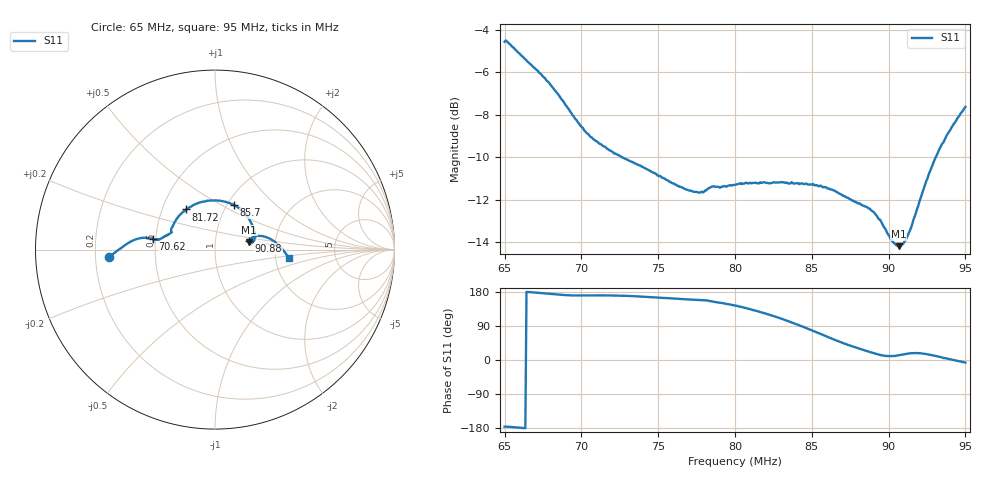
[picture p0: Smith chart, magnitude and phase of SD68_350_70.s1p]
! NanoVNA-App
! Date: 2025-08-09 13:04:04
! Start: 65MHz Stop: 95MHz Points: 401
! S-Parameter data: F S11
# Hz S RI R 50
!  Frequency  S11_Real  S11_Imag
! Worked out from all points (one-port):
!   401 points, 65 MHz to 95 MHz, reference 50 ohm
!   lowest |S11| = -14.2 dB at 90.65 MHz (marker M1), VSWR 1.49, Z = 73.2 + j6.37 ohm
!   |S11| at or under -10 dB: 72.62 MHz to 93.07 MHz (20.44 MHz wide, 24.7 % of centre)
!   S11 on the Smith chart (normalised r, x): 65 MHz: 0.26, -0.03; 70.62 MHz: 0.48, +0.06; 81.72 MHz: 0.66, +0.32; 85.7 MHz: 1.08, +0.58; 90.88 MHz: 1.46, +0.15; 95 MHz: 2.38, -0.28
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6.5e7  -0.5893 -0.0414
6.725e7  -0.4989 0.0264
6.875e7  -0.4259 0.0621
6.9725e7  -0.3787 0.0651
7.0625e7  -0.3475 0.0575
7.25e7  -0.3133 0.0565
7.625e7  -0.2568 0.0855
7.7375e7  -0.2442 0.0944
7.805e7  -0.2435 0.1021
7.85e7  -0.2438 0.1154
8e7  -0.2192 0.1616
8.1725e7  -0.1603 0.2235
8.2625e7  -0.1134 0.2511
8.375e7  -0.0394 0.2724
8.48e7  0.0401 0.2696
8.57e7  0.1072 0.2467
8.6525e7  0.1596 0.2093
8.75e7  0.1986 0.1548
8.8625e7  0.2216 0.0947
8.9525e7  0.2173 0.0484
9.005e7  0.2031 0.037
9.065e7  0.1908 0.0418
9.0875e7  0.191 0.0487
9.125e7  0.1982 0.0606
9.2075e7  0.2406 0.0773
9.2825e7  0.2933 0.0658
9.38e7  0.3559 0.0247
9.5e7  0.4121 -0.0488
